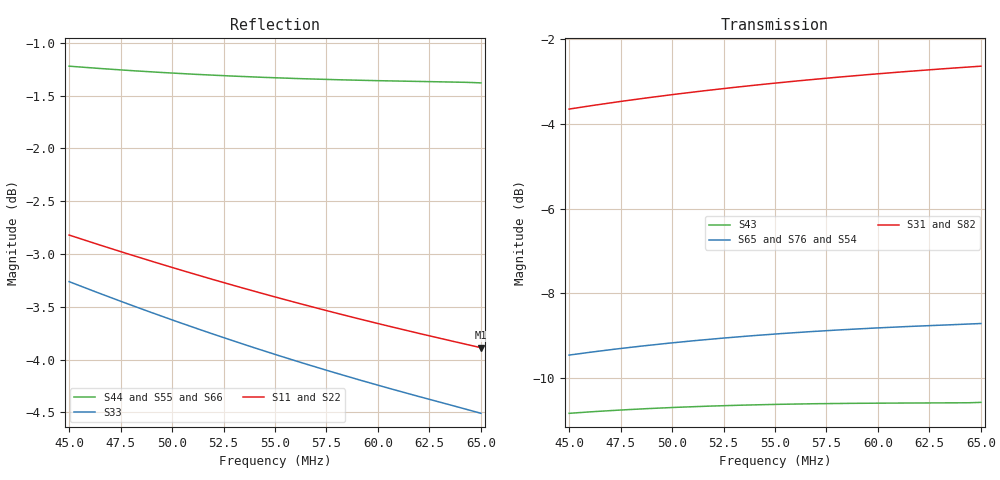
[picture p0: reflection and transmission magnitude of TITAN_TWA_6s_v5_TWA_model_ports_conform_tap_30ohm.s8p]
! Touchstone file exported from HFSS 2019.2.0
!  File:  /home/riccardo/Documents/TWA_TITAN/TITAN_TWA_6s_v5.aedt
!  Generated:  5:13:22 PM  Dec 11, 2019
!  Design:  TWA_model_ports_conform_tap
!  Project:  TITAN_TWA_6s_v5
!  Setup:  Setup1
!  Solution:  Sweep
! Variables:
!  b_dl = 150mm
!  b_h = 250mm
!  b_l = 1950mm
!  b_lbg = 1000mm
!  b_rd = 225mm
!  b_wt = 10mm
!  c_g = 10mm
!  c_l = 230mm
!  c_t = 15mm
!  c_w = 200mm
!  c_wt = 10mm
!  cap_1_l = 215mm
!  cap_2_l = 160mm
!  cap_3_l = 115mm
!  cap_4_l = 115mm
!  cap_5_l = 160mm
!  cap_6_l = 215mm
!  cap_off = 10mm
!  cwp_d = 100mm
!  cx_1_bnd_r = 100mm
!  cx_1_d1 = 260mm
!  cx_l = 35mm
!  cx_ri = 38.495117903mm
!  cx_ro = 63.5mm
!  dmb_d = 100mm
!  s_b = 150mm
!  s_fillet = 7.5mm
!  s_fillet_sf = 12mm
!  s_foot_fillet = 7.5mm
!  s_foot_h = 25mm
!  s_foot_l = 72.5mm
!  s_l = 250mm
!  s_lwg = 250mm
!  s_r = 60mm
!  s_rcr = 10mm
!  s_t = 15mm
!  s_w = 200mm
!  s_z = 250mm
!  shift_x = -360mm
!  shift_y = -0mm
!  shift_z = -140mm
!  t_fillet = 7.5mm
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# GHZ S MA R 30.000000
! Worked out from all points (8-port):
!   201 points, 45 MHz to 65 MHz, reference 30 ohm
!   strongest paths, dB at 45 MHz, 50 MHz, 55 MHz, 60 MHz, 65 MHz:
!     S31: -3.6, -3.3, -3.0, -2.8, -2.6
!     S82: -3.7, -3.3, -3.1, -2.9, -2.7
!     S65: -9.5, -9.2, -9.0, -8.8, -8.7
!     S76: -9.6, -9.2, -9.0, -8.9, -8.7
!     S54: -9.6, -9.3, -9.0, -8.9, -8.7
!     S43: -10.8, -10.7, -10.6, -10.6, -10.6
!   lowest |S11| = -3.9 dB at 65 MHz (marker M1), VSWR 4.54, Z = 7.36 - j9.88 ohm
!   |S11| at or under -10 dB: nowhere
